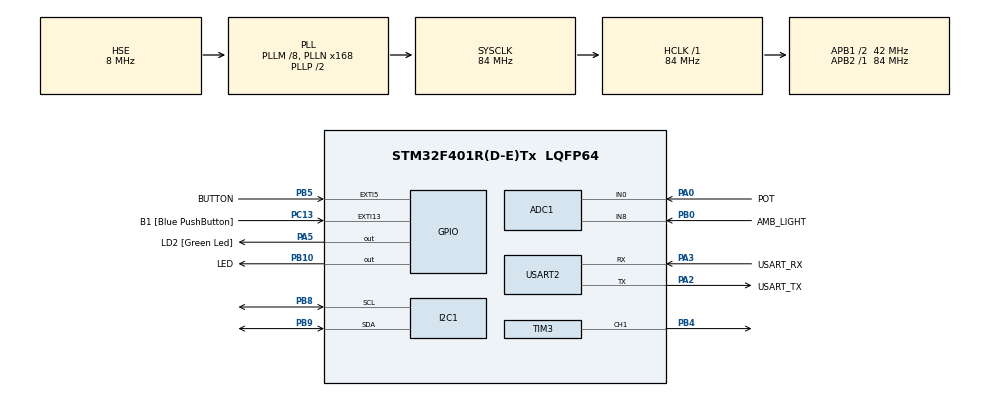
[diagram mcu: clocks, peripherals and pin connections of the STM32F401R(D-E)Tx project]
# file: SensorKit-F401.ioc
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ADC1.Channel-0\#ChannelRegularConversion=ADC_CHANNEL_8
ADC1.Channel-1\#ChannelRegularConversion=ADC_CHANNEL_8
ADC1.Channel-2\#ChannelRegularConversion=ADC_CHANNEL_8
ADC1.ContinuousConvMode=DISABLE
ADC1.NbrOfConversion=3
ADC1.NbrOfConversionFlag=1
ADC1.Rank-0\#ChannelRegularConversion=1
ADC1.Rank-1\#ChannelRegularConversion=2
ADC1.Rank-2\#ChannelRegularConversion=3
ADC1.SamplingTime-0\#ChannelRegularConversion=ADC_SAMPLETIME_3CYCLES
ADC1.SamplingTime-1\#ChannelRegularConversion=ADC_SAMPLETIME_3CYCLES
ADC1.SamplingTime-2\#ChannelRegularConversion=ADC_SAMPLETIME_3CYCLES
ADC1.master=1
Dma.ADC1.0.Direction=DMA_PERIPH_TO_MEMORY
Dma.ADC1.0.FIFOMode=DMA_FIFOMODE_DISABLE
Dma.ADC1.0.Instance=DMA2_Stream0
Dma.ADC1.0.MemDataAlignment=DMA_MDATAALIGN_HALFWORD
Dma.ADC1.0.MemInc=DMA_MINC_ENABLE
Dma.ADC1.0.Mode=DMA_CIRCULAR
Dma.ADC1.0.PeriphDataAlignment=DMA_PDATAALIGN_HALFWORD
Dma.ADC1.0.PeriphInc=DMA_PINC_DISABLE
Dma.ADC1.0.Priority=DMA_PRIORITY_LOW
Dma.Request0=ADC1
Mcu.Family=STM32F4
Mcu.Name=STM32F401R(D-E)Tx
Mcu.Package=LQFP64
NVIC.DMA2_Stream0_IRQn=true\:0\:0\:false\:false\:true\:false\:true\:true
NVIC.PriorityGroup=NVIC_PRIORITYGROUP_0
PA0-WKUP.GPIO_Label=POT
PA0-WKUP.Signal=ADCx_IN0
PA13.GPIO_Label=TMS
PA13.Mode=Serial_Wire
PA13.Signal=SYS_JTMS-SWDIO
PA14.GPIO_Label=TCK
PA14.Mode=Serial_Wire
PA14.Signal=SYS_JTCK-SWCLK
PA2.GPIO_Label=USART_TX
PA2.GPIO_Mode=GPIO_MODE_AF_PP
PA2.GPIO_PuPd=GPIO_NOPULL
PA2.GPIO_Speed=GPIO_SPEED_FREQ_LOW
PA2.Mode=Asynchronous
PA2.Signal=USART2_TX
PA3.GPIO_Label=USART_RX
PA3.GPIO_Mode=GPIO_MODE_AF_PP
PA3.GPIO_PuPd=GPIO_NOPULL
PA3.GPIO_Speed=GPIO_SPEED_FREQ_LOW
PA3.Mode=Asynchronous
PA3.Signal=USART2_RX
PA4.GPIO_Label=MIC
PA4.Signal=ADCx_IN4
PA5.GPIO_Label=LD2 [Green Led]
PA5.GPIO_Mode=GPIO_MODE_OUTPUT_PP
PA5.GPIO_PuPd=GPIO_NOPULL
PA5.GPIO_Speed=GPIO_SPEED_FREQ_LOW
PA5.Signal=GPIO_Output
PB0.GPIO_Label=AMB_LIGHT
PB0.Signal=ADCx_IN8
PB10.GPIO_Label=LED
PB10.Signal=GPIO_Output
PB3.GPIO_Label=SWO
PB3.Signal=SYS_JTDO-SWO
PB4.Signal=S_TIM3_CH1
PB5.GPIO_Label=BUTTON
PB5.Signal=GPXTI5
PB8.Mode=I2C
PB8.Signal=I2C1_SCL
PB9.Mode=I2C
PB9.Signal=I2C1_SDA
PC13-ANTI_TAMP.GPIO_Label=B1 [Blue PushButton]
PC13-ANTI_TAMP.GPIO_ModeDefaultEXTI=GPIO_MODE_IT_FALLING
PC13-ANTI_TAMP.GPIO_PuPd=GPIO_NOPULL
PC13-ANTI_TAMP.Signal=GPXTI13
PC14-OSC32_IN.Mode=LSE-External-Oscillator
PC14-OSC32_IN.Signal=RCC_OSC32_IN
PC15-OSC32_OUT.Mode=LSE-External-Oscillator
PC15-OSC32_OUT.Signal=RCC_OSC32_OUT
PH0\ -\ OSC_IN.Mode=HSE-External-Clock-Source
PH0\ -\ OSC_IN.Signal=RCC_OSC_IN
PH1\ -\ OSC_OUT.Mode=HSE-External-Clock-Source
PH1\ -\ OSC_OUT.Signal=RCC_OSC_OUT
ProjectManager.HeapSize=0x200
ProjectManager.StackSize=0x400
ProjectManager.TargetToolchain=STM32CubeIDE
RCC.48MHZClocksFreq_Value=24000000
RCC.AHBFreq_Value=84000000
RCC.APB1CLKDivider=RCC_HCLK_DIV2
RCC.APB1Freq_Value=42000000
RCC.APB1TimFreq_Value=84000000
RCC.APB2Freq_Value=84000000
RCC.APB2TimFreq_Value=84000000
RCC.CortexFreq_Value=84000000
RCC.HCLKFreq_Value=84000000
RCC.HSE_VALUE=8000000
RCC.HSI_VALUE=16000000
RCC.PLLM=8
RCC.PLLN=168
RCC.PLLQ=7
RCC.PLLSourceVirtual=RCC_PLLSOURCE_HSE
RCC.SYSCLKFreq_VALUE=84000000
RCC.SYSCLKSource=RCC_SYSCLKSOURCE_PLLCLK
RCC.VCOOutputFreq_Value=168000000
SH.ADCx_IN0.0=ADC1_IN0,IN0
SH.ADCx_IN4.0=ADC1_IN4
SH.ADCx_IN8.0=ADC1_IN8,IN8
SH.S_TIM3_CH1.0=TIM3_CH1,PWM Generation1 CH1
TIM3.Channel-PWM\ Generation1\ CH1=TIM_CHANNEL_1
TIM3.Period=10
TIM3.Prescaler=2097
USART2.VirtualMode=VM_ASYNC
VP_TIM3_VS_ClockSourceINT.Mode=Internal
board=NUCLEO-F401RE

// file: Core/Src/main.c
/* USER CODE BEGIN Header */
/**
 ******************************************************************************
 * @file           : main.c
 * @brief          : Main program body
 ******************************************************************************
 * @attention
 *
 * Copyright (c) 2024 STMicroelectronics.
 * All rights reserved.
 *
 * This software is licensed under terms that can be found in the LICENSE file
 * in the root directory of this software component.
 * If no LICENSE file comes with this software, it is provided AS-IS.
 *
 ******************************************************************************
 */
/* USER CODE END Header */
#include "main.h"
#include "adc.h"
#include "dma.h"
#include "i2c.h"
#include "tim.h"
#include "usart.h"
#include "gpio.h"

/* USER CODE BEGIN Includes */
// https://github.com/libdriver/dht20/blob
#include "driver_dht20.h"

//https://github.com/STMicroelectronics/stm32-ssd1315
//#include "ssd1315.h"
#include "ssd1306.h"
#include "fonts.h"
/* USER CODE END Includes */

/* USER CODE BEGIN PV */
uint32_t temp_raw=0;
float temperature=0;
//char* temperatureString;
char temperatureString[10];

float lightLevel2=0;
char lightLevelString[6];
uint16_t lightLevel = 0;

uint32_t hum_raw=0;
uint8_t humidity=0;
float humidity3=0;
char humidityString[3];

uint32_t potValue=0;
uint16_t adcValues[3]={0};

//SSD1315_Object_t ahogyszeretnemcsillagnelegyenott;
/* USER CODE END PV */

void SystemClock_Config(void);

/* USER CODE BEGIN 0 */
/*
void makeSound(uint16_t tone, uint8_t volume, uint16_t duration) {

	htim3.Instance->ARR = tone;
	htim3.Instance->CCR1 = tone * (volume / 100.0);
	HAL_TIM_PWM_Start(&htim3, TIM_CHANNEL_1);
	HAL_Delay(duration);
//	htim3.Instance->CCR1 = 0;
	HAL_TIM_PWM_Stop(&htim3, TIM_CHANNEL_1);
}
*/

void iicWriteData(uint8_t addr, uint8_t *buf, uint16_t len) {
	HAL_I2C_Master_Transmit(&hi2c1, addr, buf, len, 1);
}

void iicReadData(uint8_t addr, uint8_t *buf, uint16_t len) {
	HAL_I2C_Master_Receive(&hi2c1, addr, buf, len, 1);
}

/* USER CODE END 0 */

int main(void)
{
  /* USER CODE BEGIN 1 */
	dht20_handle_t hdth;
	hdth.delay_ms = &HAL_Delay;
	hdth.iic_read_cmd = &iicReadData;
	hdth.iic_write_cmd = &iicWriteData;

  /* USER CODE END 1 */

  /* MCU Configuration--------------------------------------------------------*/

  /* Reset of all peripherals, Initializes the Flash interface and the Systick. */
  HAL_Init();

  /* Configure the system clock */
  SystemClock_Config();

  /* Initialize all configured peripherals */
  MX_GPIO_Init();
  MX_DMA_Init();
  MX_USART2_UART_Init();
  MX_ADC1_Init();
  MX_TIM3_Init();
  MX_I2C1_Init();
  /* USER CODE BEGIN 2 */

	dht20_init(&hdth);
	//SSD1315_Unselect();
	//(SSD1315_Object_t *pObj, uint32_t ColorCoding, uint32_t Orientation)
	//SSD1315_Init(&ahogyszeretnemcsillagnelegyenott,0,SSD1315_ORIENTATION_LANDSCAPE);

	//SSD1315_FillScreen(SSD1315_COLOR_BLACK );
	//SSD1315_WriteString(0, 0, "Font_7x10, red on black, lorem ipsum dolor sit amet", Font_7x10, SSD1315_COLOR_WHITE , SSD1315_COLOR_BLACK );

	//SSD1315_DisplayOn(&ahogyszeretnemcsillagnelegyenott);
	//SSD1315_SetBrightness(&ahogyszeretnemcsillagnelegyenott, 10);
	//SSD1315_FillRGBRect(&ahogyszeretnemcsillagnelegyenott, 0, 0, , 7, 8);
	//SSD1315_FillRect(&ahogyszeretnemcsillagnelegyenott, 10, 10, 100, 100, 0);
	ssd1306_Init(&hi2c1);
	ssd1306_Fill(Black);

	//ssd1306_WriteString("Ho: ", Font_7x10, White);
	//ssd1306_WriteString(&temperatureString, Font_7x10, White);
	ssd1306_UpdateScreen(&hi2c1);

	MX_ADC1_Init();

	HAL_ADC_Start_DMA(&hadc1, adcValues, 1);

  /* USER CODE END 2 */

  /* Infinite loop */
  /* USER CODE BEGIN WHILE */
	while (1) {
		dht20_read_temperature(&hdth, &temp_raw, &temperature);
		dht20_read_humidity(&hdth, &hum_raw, &humidity);

		ssd1306_SetCursor(10,10);
		ssd1306_WriteString("Temp: ", Font_7x10, White);
		//sprintf(temperatureString, "%f", temperature);
		snprintf(temperatureString, sizeof(temperatureString), "%f", temperature);
		ssd1306_WriteString(temperatureString, Font_7x10, White);

		ssd1306_SetCursor(10,30);
		ssd1306_WriteString("Hum: ", Font_7x10, White);
		humidity3 = humidity;
		//sprintf(humidityString, "%f", humidity);
		snprintf(humidityString, sizeof(humidityString), "%f", humidity3);

		ssd1306_WriteString(humidityString, Font_7x10, White);

		//temp hum OLED end
		//HAL_ADC_PollForConversion(&hadc1, 1);
		HAL_ADC_Start_DMA(&hadc1, adcValues, 1);

		lightLevel = adcValues[0];

		/*
		HAL_ADC_PollForConversion(&hadc1, 1);

		HAL_ADC_GetValue(&hadc1);

		HAL_ADC_PollForConversion(&hadc1, 1);

		HAL_ADC_GetValue(&hadc1);
		*/

		ssd1306_SetCursor(10,50);
		ssd1306_WriteString("Light: ", Font_7x10, White);
		lightLevel = adcValues[0];
		lightLevel2 = lightLevel;
		//sprintf(humidityString, "%", humidity);
		snprintf(lightLevelString, sizeof(lightLevelString), "%f", lightLevel2);

		ssd1306_WriteString(lightLevelString, Font_7x10, White);

		ssd1306_UpdateScreen(&hi2c1);
		ssd1306_Fill(Black);
		ssd1306_SetCursor(10,10);

		HAL_Delay(10);

		/*
		HAL_GPIO_TogglePin(LED_GPIO_Port, LED_Pin);
		HAL_Delay(100);
		HAL_ADC_Start_DMA(&hadc1, adcValues, 3);
		makeSound(540*(adcValues[1]/4096.0), 60, 100);
		 */

//	  if(HAL_GPIO_ReadPin(BUTTON_GPIO_Port, BUTTON_Pin)){
//		  HAL_GPIO_WritePin(LED_GPIO_Port, LED_Pin, SET);
//		  makeSound(10, 80, 300);
//	  }else{
//		  HAL_GPIO_TogglePin(LED_GPIO_Port, LED_Pin);
//		  dht20_read_temperature(&hdth, &temp_raw, &temperature);
//		  HAL_Delay(300);
//	  }

    /* USER CODE END WHILE */

	}
}

void SystemClock_Config(void)
{
  RCC_OscInitTypeDef RCC_OscInitStruct = {0};
  RCC_ClkInitTypeDef RCC_ClkInitStruct = {0};

  /** Configure the main internal regulator output voltage
  */
  __HAL_RCC_PWR_CLK_ENABLE();
  __HAL_PWR_VOLTAGESCALING_CONFIG(PWR_REGULATOR_VOLTAGE_SCALE2);

  /** Initializes the RCC Oscillators according to the specified parameters
  * in the RCC_OscInitTypeDef structure.
  */
  RCC_OscInitStruct.OscillatorType = RCC_OSCILLATORTYPE_HSE;
  RCC_OscInitStruct.HSEState = RCC_HSE_BYPASS;
  RCC_OscInitStruct.PLL.PLLState = RCC_PLL_ON;
  RCC_OscInitStruct.PLL.PLLSource = RCC_PLLSOURCE_HSE;
  RCC_OscInitStruct.PLL.PLLM = 8;
  RCC_OscInitStruct.PLL.PLLN = 168;
  RCC_OscInitStruct.PLL.PLLP = RCC_PLLP_DIV2;
  RCC_OscInitStruct.PLL.PLLQ = 7;
  if (HAL_RCC_OscConfig(&RCC_OscInitStruct) != HAL_OK)
  {
    Error_Handler();
  }

  /** Initializes the CPU, AHB and APB buses clocks
  */
  RCC_ClkInitStruct.ClockType = RCC_CLOCKTYPE_HCLK|RCC_CLOCKTYPE_SYSCLK
                              |RCC_CLOCKTYPE_PCLK1|RCC_CLOCKTYPE_PCLK2;
  RCC_ClkInitStruct.SYSCLKSource = RCC_SYSCLKSOURCE_PLLCLK;
  RCC_ClkInitStruct.AHBCLKDivider = RCC_SYSCLK_DIV1;
  RCC_ClkInitStruct.APB1CLKDivider = RCC_HCLK_DIV2;
  RCC_ClkInitStruct.APB2CLKDivider = RCC_HCLK_DIV1;

  if (HAL_RCC_ClockConfig(&RCC_ClkInitStruct, FLASH_LATENCY_2) != HAL_OK)
  {
    Error_Handler();
  }
}

void Error_Handler(void)
{
	__disable_irq();
	while (1) {
	}
}
